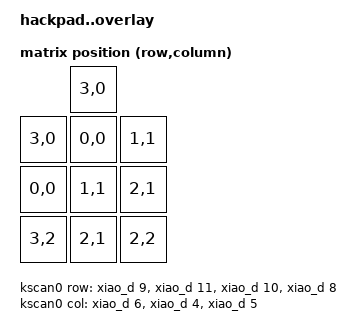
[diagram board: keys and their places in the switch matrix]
#include <dt-bindings/led/led.h>
#include <dt-bindings/zmk/matrix_transform.h>

// i have zero clue if i hold any kind of copyright over this code. don't ask, just use it.

/ {
    //
    // key configuration
    // -----------------

    kscan0: kscan0 {
        compatible = "zmk,kscan-gpio-matrix";
        diode-direction = "col2row";
        wakeup-source;

        col-gpios
            = <&xiao_d 6 GPIO_ACTIVE_HIGH>
            , <&xiao_d 4 GPIO_ACTIVE_HIGH>
            , <&xiao_d 5 GPIO_ACTIVE_HIGH>
            ;

        row-gpios
            = <&xiao_d 9 (GPIO_ACTIVE_HIGH | GPIO_PULL_DOWN)>
            , <&xiao_d 11 (GPIO_ACTIVE_HIGH | GPIO_PULL_DOWN)>
            , <&xiao_d 10 (GPIO_ACTIVE_HIGH | GPIO_PULL_DOWN)>
            , <&xiao_d 8 (GPIO_ACTIVE_HIGH | GPIO_PULL_DOWN)>
            ;
    };

    default_transform: keymap_transform0 {
        compatible = "zmk,matrix-transform";
        columns = <3>; // Length of the "col-gpios" array
        rows = <4>; // Length of the "row-gpios" array
        map = <
        //           Key 1
                    RC(3,0) 
        //   Key 3 | Key 4 | Key 5
            RC(3,0) RC(0,0) RC(1,1)
        //   Key 7 | Key 8 | Key 9 
            RC(0,0) RC(1,1) RC(2,1)
        //   Key 7 | Key 8 | Key 9 
            RC(3,2) RC(2,1) RC(2,2)
        >;
    };


    //
    // defaults configuration
    // ----------------------

    default_layout: default_layout {
        compatible = "zmk,physical-layout";
        display-name = "Default Layout";
        transform = <&default_transform>;
        kscan = <&kscan0>;
    };

    chosen {
        // Layout configuration
        zmk.physical-layout = &default_layout;
        // Other chosen items
    };
}
